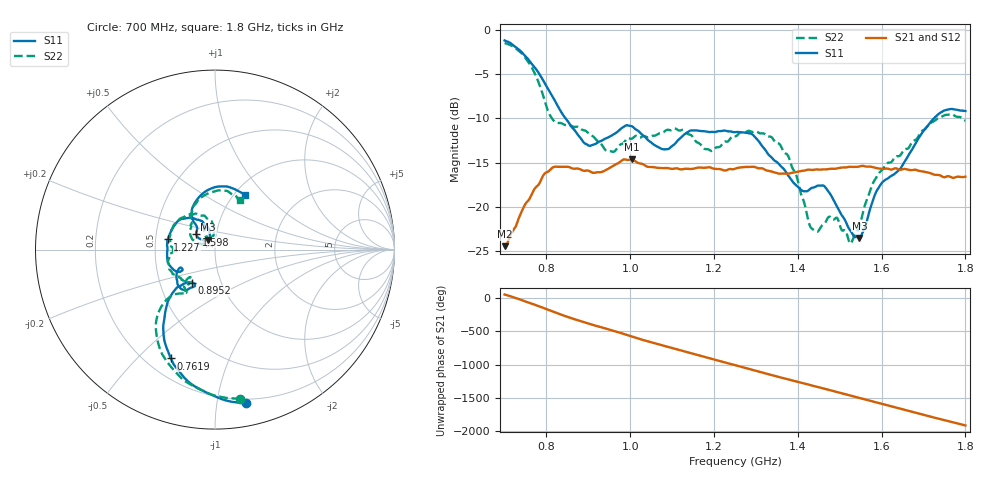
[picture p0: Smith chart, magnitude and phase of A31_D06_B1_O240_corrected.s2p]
! Created with skrf 1.9.0 (http://scikit-rf.org).
# Hz S RI R 50.0
!freq ReS11 ImS11 ReS21 ImS21 ReS12 ImS12 ReS22 ImS22
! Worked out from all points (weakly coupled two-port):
!   1601 points, 700 MHz to 1.8 GHz, reference 50 ohm
!   highest |S21| = -14.62 dB at 1.003 GHz (marker M1); lowest = -24.4 dB at 700 MHz (marker M2)
!   lowest |S11| = -23.5 dB at 1.547 GHz (marker M3), VSWR 1.14, Z = 46.1 + j5.12 ohm
!   |S11| at or under -10 dB: 845.7 MHz to 1.725 GHz (879.1 MHz wide, 68.4 % of centre)
!   |S22| runs from -24.1 to -1.5 dB; largest |S21 - S12| = 0.0035
!   S11 on the Smith chart (normalised r, x): 700 MHz: 0.17, -1.21; 761.9 MHz: 0.30, -0.63; 895.2 MHz: 0.72, -0.28; 1.227 GHz: 0.58, +0.07; 1.598 GHz: 0.80, +0.14; 1.8 GHz: 1.11, +0.77
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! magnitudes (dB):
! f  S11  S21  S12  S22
! 700 MHz  -1.2  -24.4  -24.2  -1.5
! 761.9 MHz  -3.7  -18.9  -18.8  -4.0
! 815.5 MHz  -7.6  -15.5  -15.6  -10.2
! 883.6 MHz  -12.4  -15.8  -15.7  -11.2
! 895.2 MHz  -12.9  -15.9  -16.0  -11.5
! 947.5 MHz  -12.1  -15.7  -15.7  -13.7
! 1.003 GHz  -10.9  -14.6  -14.7  -12.3
! 1.067 GHz  -13.2  -15.6  -15.5  -11.7
! 1.126 GHz  -11.9  -15.7  -15.7  -11.3
! 1.193 GHz  -11.5  -15.6  -15.6  -13.7
! 1.227 GHz  -11.4  -15.9  -15.8  -12.6
! 1.25 GHz  -11.6  -15.7  -15.6  -12.0
! 1.357 GHz  -15.2  -16.2  -16.2  -12.9
! 1.395 GHz  -17.5  -16.1  -16.1  -16.2
! 1.434 GHz  -17.8  -15.8  -15.8  -22.5
! 1.492 GHz  -19.8  -15.7  -15.6  -21.2
! 1.526 GHz  -22.7  -15.5  -15.5  -24.1
! 1.547 GHz  -23.5  -15.4  -15.4  -22.2
! 1.598 GHz  -17.5  -15.7  -15.7  -16.0
! 1.617 GHz  -16.7  -15.7  -15.7  -15.0
! 1.733 GHz  -9.6  -16.4  -16.4  -10.1
! 1.8 GHz  -9.2  -16.6  -16.6  -10.2
